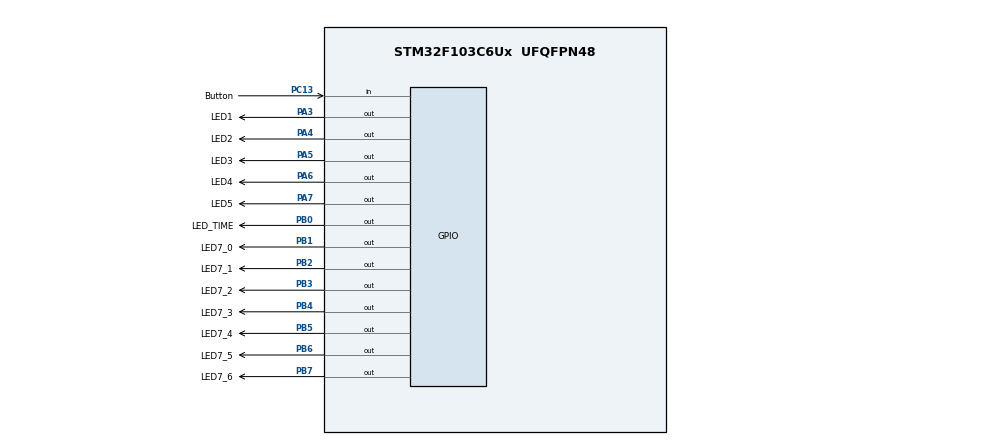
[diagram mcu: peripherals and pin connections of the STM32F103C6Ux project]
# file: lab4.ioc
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Mcu.Family=STM32F1
Mcu.Name=STM32F103C6Ux
Mcu.Package=UFQFPN48
NVIC.PriorityGroup=NVIC_PRIORITYGROUP_4
NVIC.TIM2_IRQn=true\:0\:0\:false\:false\:true\:true\:true
PA3.GPIO_Label=LED1
PA3.Signal=GPIO_Output
PA4.GPIO_Label=LED2
PA4.Signal=GPIO_Output
PA5.GPIO_Label=LED3
PA5.Signal=GPIO_Output
PA6.GPIO_Label=LED4
PA6.Signal=GPIO_Output
PA7.GPIO_Label=LED5
PA7.Signal=GPIO_Output
PB0.GPIO_Label=LED_TIME
PB0.Signal=GPIO_Output
PB1.GPIO_Label=LED7_0
PB1.Signal=GPIO_Output
PB2.GPIO_Label=LED7_1
PB2.Signal=GPIO_Output
PB3.GPIO_Label=LED7_2
PB3.Signal=GPIO_Output
PB4.GPIO_Label=LED7_3
PB4.Signal=GPIO_Output
PB5.GPIO_Label=LED7_4
PB5.Signal=GPIO_Output
PB6.GPIO_Label=LED7_5
PB6.Signal=GPIO_Output
PB7.GPIO_Label=LED7_6
PB7.Signal=GPIO_Output
PC13-TAMPER-RTC.GPIO_Label=Button
PC13-TAMPER-RTC.GPIO_PuPd=GPIO_PULLUP
PC13-TAMPER-RTC.Signal=GPIO_Input
ProjectManager.HeapSize=0x200
ProjectManager.StackSize=0x400
ProjectManager.TargetToolchain=STM32CubeIDE
RCC.APB1Freq_Value=8000000
RCC.APB2Freq_Value=8000000
TIM2.Period=9
TIM2.Prescaler=7999
VP_SYS_VS_ND.Mode=No_Debug
VP_TIM2_VS_ClockSourceINT.Mode=Internal
board=custom

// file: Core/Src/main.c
/* USER CODE BEGIN Header */
/**
  ******************************************************************************
  * @file           : main.c
  * @brief          : Main program body
  ******************************************************************************
  * @attention
  *
  * <h2><center>&copy; Copyright (c) 2022 STMicroelectronics.
  * All rights reserved.</center></h2>
  *
  * This software component is licensed by ST under BSD 3-Clause license,
  * the "License"; You may not use this file except in compliance with the
  * License. You may obtain a copy of the License at:
  *                        opensource.org/licenses/BSD-3-Clause
  *
  ******************************************************************************
  */
/* USER CODE END Header */
#include "main.h"
#include "scheduler.h"

TIM_HandleTypeDef htim2;

void SystemClock_Config(void);
static void MX_GPIO_Init(void);
static void MX_TIM2_Init(void);

/* USER CODE BEGIN 0 */

void task_led1(){
	HAL_GPIO_TogglePin(LED1_GPIO_Port, LED1_Pin); //Toggle LED 1
}
void task_led2(){
	HAL_GPIO_TogglePin(LED2_GPIO_Port, LED2_Pin); //Toggle LED 2
}
void task_led3(){
	HAL_GPIO_TogglePin(LED3_GPIO_Port, LED3_Pin); //Toggle LED 3
}
void task_led4(){
	HAL_GPIO_TogglePin(LED4_GPIO_Port, LED4_Pin); //Toggle LED 4
}
void task_led5(){
	HAL_GPIO_TogglePin(LED5_GPIO_Port, LED5_Pin); //Toggle LED 5
	SCH_Delete_Task(4); // Delete current task
}
void Display7SEG1(int count){
	switch (count) {
		case 0:
			HAL_GPIO_WritePin(LED7_0_GPIO_Port, LED7_0_Pin, 0);
			HAL_GPIO_WritePin(LED7_1_GPIO_Port, LED7_1_Pin, 0);
			HAL_GPIO_WritePin(LED7_2_GPIO_Port, LED7_2_Pin, 0);
			HAL_GPIO_WritePin(LED7_3_GPIO_Port, LED7_3_Pin, 0);
			HAL_GPIO_WritePin(LED7_4_GPIO_Port, LED7_4_Pin, 0);
			HAL_GPIO_WritePin(LED7_5_GPIO_Port, LED7_5_Pin, 0);
			HAL_GPIO_WritePin(LED7_6_GPIO_Port, LED7_6_Pin, 1);
			break;
		case 1:
				HAL_GPIO_WritePin(LED7_0_GPIO_Port, LED7_0_Pin, 1);
				HAL_GPIO_WritePin(LED7_1_GPIO_Port, LED7_1_Pin, 0);
				HAL_GPIO_WritePin(LED7_2_GPIO_Port, LED7_2_Pin, 0);
				HAL_GPIO_WritePin(LED7_3_GPIO_Port, LED7_3_Pin, 1);
				HAL_GPIO_WritePin(LED7_4_GPIO_Port, LED7_4_Pin, 1);
				HAL_GPIO_WritePin(LED7_5_GPIO_Port, LED7_5_Pin, 1);
				HAL_GPIO_WritePin(LED7_6_GPIO_Port, LED7_6_Pin, 1);
				break;
		case 2:
				HAL_GPIO_WritePin(LED7_0_GPIO_Port, LED7_0_Pin, 0);
				HAL_GPIO_WritePin(LED7_1_GPIO_Port, LED7_1_Pin, 0);
				HAL_GPIO_WritePin(LED7_2_GPIO_Port, LED7_2_Pin, 1);
				HAL_GPIO_WritePin(LED7_3_GPIO_Port, LED7_3_Pin, 0);
				HAL_GPIO_WritePin(LED7_4_GPIO_Port, LED7_4_Pin, 0);
				HAL_GPIO_WritePin(LED7_5_GPIO_Port, LED7_5_Pin, 1);
				HAL_GPIO_WritePin(LED7_6_GPIO_Port, LED7_6_Pin, 0);
				break;
		case 3:
				HAL_GPIO_WritePin(LED7_0_GPIO_Port, LED7_0_Pin, 0);
				HAL_GPIO_WritePin(LED7_1_GPIO_Port, LED7_1_Pin, 0);
				HAL_GPIO_WritePin(LED7_2_GPIO_Port, LED7_2_Pin, 0);
				HAL_GPIO_WritePin(LED7_3_GPIO_Port, LED7_3_Pin, 0);
				HAL_GPIO_WritePin(LED7_4_GPIO_Port, LED7_4_Pin, 1);
				HAL_GPIO_WritePin(LED7_5_GPIO_Port, LED7_5_Pin, 1);
				HAL_GPIO_WritePin(LED7_6_GPIO_Port, LED7_6_Pin, 0);
				break;
		case 4:
				HAL_GPIO_WritePin(LED7_0_GPIO_Port, LED7_0_Pin, 1);
				HAL_GPIO_WritePin(LED7_1_GPIO_Port, LED7_1_Pin, 0);
				HAL_GPIO_WritePin(LED7_2_GPIO_Port, LED7_2_Pin, 0);
				HAL_GPIO_WritePin(LED7_3_GPIO_Port, LED7_3_Pin, 1);
				HAL_GPIO_WritePin(LED7_4_GPIO_Port, LED7_4_Pin, 1);
				HAL_GPIO_WritePin(LED7_5_GPIO_Port, LED7_5_Pin, 0);
				HAL_GPIO_WritePin(LED7_6_GPIO_Port, LED7_6_Pin, 0);
				break;
		case 5:
				HAL_GPIO_WritePin(LED7_0_GPIO_Port, LED7_0_Pin, 0);
				HAL_GPIO_WritePin(LED7_1_GPIO_Port, LED7_1_Pin, 1);
				HAL_GPIO_WritePin(LED7_2_GPIO_Port, LED7_2_Pin, 0);
				HAL_GPIO_WritePin(LED7_3_GPIO_Port, LED7_3_Pin, 0);
				HAL_GPIO_WritePin(LED7_4_GPIO_Port, LED7_4_Pin, 1);
				HAL_GPIO_WritePin(LED7_5_GPIO_Port, LED7_5_Pin, 0);
				HAL_GPIO_WritePin(LED7_6_GPIO_Port, LED7_6_Pin, 0);
				break;
		case 6:
				HAL_GPIO_WritePin(LED7_0_GPIO_Port, LED7_0_Pin, 0);
				HAL_GPIO_WritePin(LED7_1_GPIO_Port, LED7_1_Pin, 1);
				HAL_GPIO_WritePin(LED7_2_GPIO_Port, LED7_2_Pin, 0);
				HAL_GPIO_WritePin(LED7_3_GPIO_Port, LED7_3_Pin, 0);
				HAL_GPIO_WritePin(LED7_4_GPIO_Port, LED7_4_Pin, 0);
				HAL_GPIO_WritePin(LED7_5_GPIO_Port, LED7_5_Pin, 0);
				HAL_GPIO_WritePin(LED7_6_GPIO_Port, LED7_6_Pin, 0);
				break;
		case 7:
				HAL_GPIO_WritePin(LED7_0_GPIO_Port, LED7_0_Pin, 0);
				HAL_GPIO_WritePin(LED7_1_GPIO_Port, LED7_1_Pin, 0);
				HAL_GPIO_WritePin(LED7_2_GPIO_Port, LED7_2_Pin, 0);
				HAL_GPIO_WritePin(LED7_3_GPIO_Port, LED7_3_Pin, 1);
				HAL_GPIO_WritePin(LED7_4_GPIO_Port, LED7_4_Pin, 1);
				HAL_GPIO_WritePin(LED7_5_GPIO_Port, LED7_5_Pin, 1);
				HAL_GPIO_WritePin(LED7_6_GPIO_Port, LED7_6_Pin, 1);
				break;
		case 8:
				HAL_GPIO_WritePin(LED7_0_GPIO_Port, LED7_0_Pin, 0);
				HAL_GPIO_WritePin(LED7_1_GPIO_Port, LED7_1_Pin, 0);
				HAL_GPIO_WritePin(LED7_2_GPIO_Port, LED7_2_Pin, 0);
				HAL_GPIO_WritePin(LED7_3_GPIO_Port, LED7_3_Pin, 0);
				HAL_GPIO_WritePin(LED7_4_GPIO_Port, LED7_4_Pin, 0);
				HAL_GPIO_WritePin(LED7_5_GPIO_Port, LED7_5_Pin, 0);
				HAL_GPIO_WritePin(LED7_6_GPIO_Port, LED7_6_Pin, 0);
				break;
		case 9:
				HAL_GPIO_WritePin(LED7_0_GPIO_Port, LED7_0_Pin, 0);
				HAL_GPIO_WritePin(LED7_1_GPIO_Port, LED7_1_Pin, 0);
				HAL_GPIO_WritePin(LED7_2_GPIO_Port, LED7_2_Pin, 0);
				HAL_GPIO_WritePin(LED7_3_GPIO_Port, LED7_3_Pin, 0);
				HAL_GPIO_WritePin(LED7_4_GPIO_Port, LED7_4_Pin, 1);
				HAL_GPIO_WritePin(LED7_5_GPIO_Port, LED7_5_Pin, 0);
				HAL_GPIO_WritePin(LED7_6_GPIO_Port, LED7_6_Pin, 0);
				break;
		default:
			break;
	}
}
int counter = 0;
int flag = 0;
int second = 0;
void init_led(){
	 // Turn off all of leds
	HAL_GPIO_WritePin(LED1_GPIO_Port, LED1_Pin, 1);
	HAL_GPIO_WritePin(LED2_GPIO_Port, LED2_Pin, 1);
	HAL_GPIO_WritePin(LED3_GPIO_Port, LED3_Pin, 1);
	HAL_GPIO_WritePin(LED4_GPIO_Port, LED4_Pin, 1);
	HAL_GPIO_WritePin(LED5_GPIO_Port, LED5_Pin, 1);
	HAL_GPIO_WritePin(LED_TIME_GPIO_Port, LED_TIME_Pin, 1);
	Display7SEG1(second);
}

/* USER CODE END 0 */

int main(void)
{

  /* MCU Configuration--------------------------------------------------------*/

  /* Reset of all peripherals, Initializes the Flash interface and the Systick. */
  HAL_Init();

  /* Configure the system clock */
  SystemClock_Config();

  /* Initialize all configured peripherals */
  MX_GPIO_Init();
  MX_TIM2_Init();
  /* USER CODE BEGIN 2 */
  HAL_TIM_Base_Start_IT (&htim2);
  /* USER CODE END 2 */

  /* Infinite loop */
  /* USER CODE BEGIN WHILE */
  // Add task into Scheduler
  SCH_Add_Task(task_led1, 100, 50);
  SCH_Add_Task(task_led2, 200, 100);
  SCH_Add_Task(task_led3, 300, 150);
  SCH_Add_Task(task_led4, 400, 200);
  SCH_Add_Task(task_led5, 600, 50);
  init_led();
  while (1)
  {
    /* USER CODE END WHILE */

    /* USER CODE BEGIN 3 */

    if (flag == 1){
       flag = 0;
       HAL_GPIO_TogglePin(LED_TIME_GPIO_Port, LED_TIME_Pin); // Toggle led each second
       second++;
       if (second > 9) second = 0;
       Display7SEG1(second); // Dislay time

    }
    SCH_Dispatch_Tasks();

  }
  /* USER CODE END 3 */
}

void SystemClock_Config(void)
{
  RCC_OscInitTypeDef RCC_OscInitStruct = {0};
  RCC_ClkInitTypeDef RCC_ClkInitStruct = {0};

  /** Initializes the RCC Oscillators according to the specified parameters
  * in the RCC_OscInitTypeDef structure.
  */
  RCC_OscInitStruct.OscillatorType = RCC_OSCILLATORTYPE_HSI;
  RCC_OscInitStruct.HSIState = RCC_HSI_ON;
  RCC_OscInitStruct.HSICalibrationValue = RCC_HSICALIBRATION_DEFAULT;
  RCC_OscInitStruct.PLL.PLLState = RCC_PLL_NONE;
  if (HAL_RCC_OscConfig(&RCC_OscInitStruct) != HAL_OK)
  {
    Error_Handler();
  }
  /** Initializes the CPU, AHB and APB buses clocks
  */
  RCC_ClkInitStruct.ClockType = RCC_CLOCKTYPE_HCLK|RCC_CLOCKTYPE_SYSCLK
                              |RCC_CLOCKTYPE_PCLK1|RCC_CLOCKTYPE_PCLK2;
  RCC_ClkInitStruct.SYSCLKSource = RCC_SYSCLKSOURCE_HSI;
  RCC_ClkInitStruct.AHBCLKDivider = RCC_SYSCLK_DIV1;
  RCC_ClkInitStruct.APB1CLKDivider = RCC_HCLK_DIV1;
  RCC_ClkInitStruct.APB2CLKDivider = RCC_HCLK_DIV1;

  if (HAL_RCC_ClockConfig(&RCC_ClkInitStruct, FLASH_LATENCY_0) != HAL_OK)
  {
    Error_Handler();
  }
}

static void MX_TIM2_Init(void)
{

  TIM_ClockConfigTypeDef sClockSourceConfig = {0};
  TIM_MasterConfigTypeDef sMasterConfig = {0};

  htim2.Instance = TIM2;
  htim2.Init.Prescaler = 7999;
  htim2.Init.CounterMode = TIM_COUNTERMODE_UP;
  htim2.Init.Period = 9;
  htim2.Init.ClockDivision = TIM_CLOCKDIVISION_DIV1;
  htim2.Init.AutoReloadPreload = TIM_AUTORELOAD_PRELOAD_DISABLE;
  if (HAL_TIM_Base_Init(&htim2) != HAL_OK)
  {
    Error_Handler();
  }
  sClockSourceConfig.ClockSource = TIM_CLOCKSOURCE_INTERNAL;
  if (HAL_TIM_ConfigClockSource(&htim2, &sClockSourceConfig) != HAL_OK)
  {
    Error_Handler();
  }
  sMasterConfig.MasterOutputTrigger = TIM_TRGO_RESET;
  sMasterConfig.MasterSlaveMode = TIM_MASTERSLAVEMODE_DISABLE;
  if (HAL_TIMEx_MasterConfigSynchronization(&htim2, &sMasterConfig) != HAL_OK)
  {
    Error_Handler();
  }

}

static void MX_GPIO_Init(void)
{
  GPIO_InitTypeDef GPIO_InitStruct = {0};

  /* GPIO Ports Clock Enable */
  __HAL_RCC_GPIOC_CLK_ENABLE();
  __HAL_RCC_GPIOA_CLK_ENABLE();
  __HAL_RCC_GPIOB_CLK_ENABLE();

  /*Configure GPIO pin Output Level */
  HAL_GPIO_WritePin(GPIOA, LED1_Pin|LED2_Pin|LED3_Pin|LED4_Pin
                          |LED5_Pin, GPIO_PIN_RESET);

  /*Configure GPIO pin Output Level */
  HAL_GPIO_WritePin(GPIOB, LED_TIME_Pin|LED7_0_Pin|LED7_1_Pin|LED7_2_Pin
                          |LED7_3_Pin|LED7_4_Pin|LED7_5_Pin|LED7_6_Pin, GPIO_PIN_RESET);

  /*Configure GPIO pin : Button_Pin */
  GPIO_InitStruct.Pin = Button_Pin;
  GPIO_InitStruct.Mode = GPIO_MODE_INPUT;
  GPIO_InitStruct.Pull = GPIO_PULLUP;
  HAL_GPIO_Init(Button_GPIO_Port, &GPIO_InitStruct);

  /*Configure GPIO pins : LED1_Pin LED2_Pin LED3_Pin LED4_Pin
                           LED5_Pin */
  GPIO_InitStruct.Pin = LED1_Pin|LED2_Pin|LED3_Pin|LED4_Pin
                          |LED5_Pin;
  GPIO_InitStruct.Mode = GPIO_MODE_OUTPUT_PP;
  GPIO_InitStruct.Pull = GPIO_NOPULL;
  GPIO_InitStruct.Speed = GPIO_SPEED_FREQ_LOW;
  HAL_GPIO_Init(GPIOA, &GPIO_InitStruct);

  /*Configure GPIO pins : LED_TIME_Pin LED7_0_Pin LED7_1_Pin LED7_2_Pin
                           LED7_3_Pin LED7_4_Pin LED7_5_Pin LED7_6_Pin */
  GPIO_InitStruct.Pin = LED_TIME_Pin|LED7_0_Pin|LED7_1_Pin|LED7_2_Pin
                          |LED7_3_Pin|LED7_4_Pin|LED7_5_Pin|LED7_6_Pin;
  GPIO_InitStruct.Mode = GPIO_MODE_OUTPUT_PP;
  GPIO_InitStruct.Pull = GPIO_NOPULL;
  GPIO_InitStruct.Speed = GPIO_SPEED_FREQ_LOW;
  HAL_GPIO_Init(GPIOB, &GPIO_InitStruct);

}

/* USER CODE BEGIN 4 */
void HAL_TIM_PeriodElapsedCallback(TIM_HandleTypeDef *htim) {
	SCH_Update(); // Update values of tasks
	counter++; // increase counter
	if (counter == 100){
		flag = 1; // set flag = 1 when time increase 1 second
		counter = 0; // assign counter = 0
	}
}
/* USER CODE END 4 */

void Error_Handler(void)
{
  __disable_irq();
  while (1)
  {
  }
}

/************************ (C) COPYRIGHT STMicroelectronics *****END OF FILE****/
